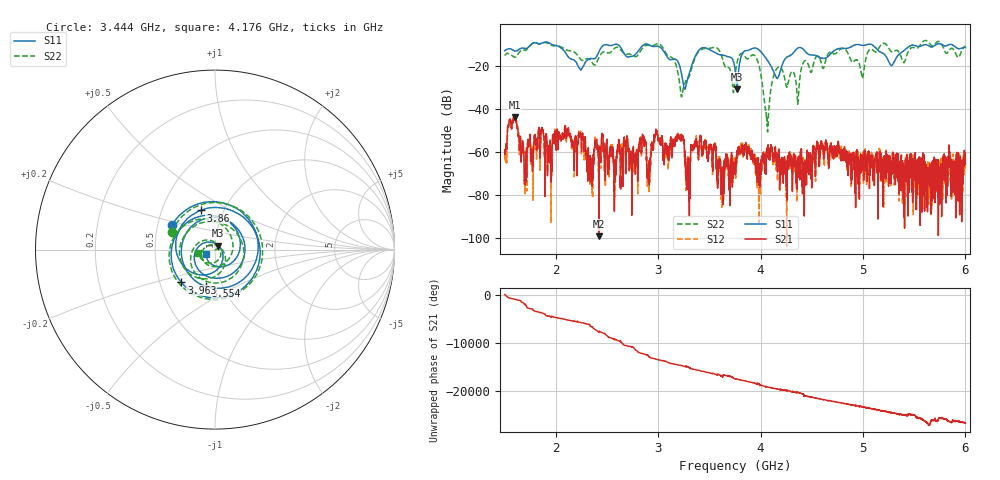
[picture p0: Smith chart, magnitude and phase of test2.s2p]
!Keysight Technologies N9923A: A.08.15
!Date: Monday, 19 February 2024 15:47:40
!Timezone: (GMT-05:00) Eastern Time (US & Canada)
!Model: N9923A
!Serial: MY52412730
!GPS Latitude:
!GPS Longitude:
!GPS TimeStamp: 0001-01-01 00:00:00Z
!GPS Seconds Since Last Read: 0
!CHECKSUM:0265102417
!Correction: S11(ON Q)S21(ON Q)S12(ON Q)S22(ON Q)
!S2P File: Measurements:S11,S21,S12,S22:
# Hz S DB R 50
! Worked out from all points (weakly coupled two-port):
!   4001 points, 1.5 GHz to 6 GHz, reference 50 ohm
!   highest |S21| = -43.65 dB at 1.599 GHz (marker M1); lowest = -99.5 dB at 2.421 GHz (marker M2)
!   lowest |S11| = -30.8 dB at 3.769 GHz (marker M3), VSWR 1.06, Z = 51.8 + j2.35 ohm
!   |S11| at or under -10 dB: 1.975 GHz to 2.469 GHz (494.4 MHz wide, 22.2 % of centre); 2.913 GHz to 4.919 GHz (2.007 GHz wide, 51.2 % of centre); 5.092 GHz to 5.592 GHz (499.6 MHz wide, 9.35 % of centre) (the widest 3 of 10)
!   |S22| runs from -50.6 to -7.9 dB; largest |S21 - S12| = 0.0014
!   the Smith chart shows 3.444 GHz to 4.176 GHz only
!   S11 on the Smith chart (normalised r, x): 3.444 GHz: 0.59, +0.17; 3.554 GHz: 0.83, -0.36; 3.86 GHz: 0.78, +0.36; 3.963 GHz: 0.64, -0.25; 4.176 GHz: 0.90, -0.05
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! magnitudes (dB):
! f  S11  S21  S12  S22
! 1.5 GHz  -12.7  -59.1  -59.9  -15.0
! 1.599 GHz  -12.9  -43.7  -43.6  -15.7
! 1.701 GHz  -11.6  -71.0  -70.8  -12.4
! 1.851 GHz  -9.3  -57.4  -56.7  -9.5
! 2.25 GHz  -21.3  -57.8  -60.8  -17.0
! 2.421 GHz  -13.1  -99.5  -68.6  -15.9
! 2.861 GHz  -9.8  -55.5  -55.4  -10.8
! 2.907 GHz  -9.9  -69.6  -68.7  -10.2
! 3.001 GHz  -10.6  -54.9  -53.9  -9.4
! 3.232 GHz  -24.6  -53.8  -52.9  -33.4
! 3.29 GHz  -25.3  -65.2  -62.1  -25.6
! 3.444 GHz  -11.2  -58.2  -56.7  -11.7
! 3.554 GHz  -13.5  -56.3  -56.7  -11.1
! 3.75 GHz  -21.2  -68.6  -64.1  -24.7
! 3.769 GHz  -30.8  -61.5  -60.6  -18.4
! 3.86 GHz  -12.7  -57.0  -58.2  -16.2
! 3.963 GHz  -11.6  -69.8  -69.5  -16.5
! 4.062 GHz  -16.8  -59.4  -60.7  -45.6
! 4.176 GHz  -24.7  -58.7  -60.7  -20.2
! 4.5 GHz  -14.7  -68.5  -68.5  -22.1
! 5.251 GHz  -17.7  -66.0  -74.4  -11.4
! 6 GHz  -11.2  -65.7  -63.9  -10.5
